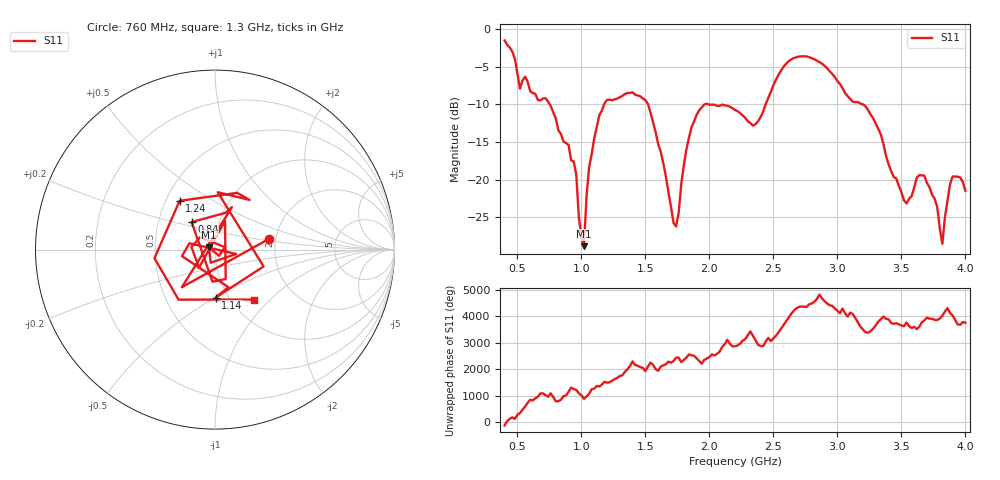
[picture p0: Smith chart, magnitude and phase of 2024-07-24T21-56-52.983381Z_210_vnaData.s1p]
!Created with skrf (http://scikit-rf.org).
# Hz S RI R 50.0
!freq ReS11 ImS11
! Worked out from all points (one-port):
!   181 points, 400 MHz to 4 GHz, reference 50 ohm
!   lowest |S11| = -28.8 dB at 1.02 GHz (marker M1), VSWR 1.08, Z = 46.7 + j1.11 ohm
!   |S11| at or under -10 dB: 1.521 GHz to 1.967 GHz (445.9 MHz wide, 25.6 % of centre); 1.991 GHz to 2.439 GHz (448.4 MHz wide, 20.2 % of centre); 3.196 GHz to end of sweep (the widest 3 of 4)
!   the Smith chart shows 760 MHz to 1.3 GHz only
!   S11 on the Smith chart (normalised r, x): 760 MHz: 1.84, +0.25; 840 MHz: 0.74, +0.24; 1.14 GHz: 0.87, -0.50; 1.24 GHz: 0.59, +0.36; 1.3 GHz: 1.26, -0.80
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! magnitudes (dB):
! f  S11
! 400 MHz  -1.5
! 520 MHz  -7.9
! 560 MHz  -6.4
! 760 MHz  -10.2
! 840 MHz  -13.9
! 860 MHz  -14.9
! 940 MHz  -17.6
! 1.02 GHz  -28.8
! 1.06 GHz  -18.4
! 1.14 GHz  -11.5
! 1.24 GHz  -9.5
! 1.3 GHz  -9.1
! 1.52 GHz  -10.0
! 1.72 GHz  -25.8
! 1.76 GHz  -24.4
! 1.82 GHz  -16.0
! 1.9 GHz  -11.4
! 2.2 GHz  -10.8
! 2.36 GHz  -12.6
! 2.66 GHz  -3.9
! 3.1 GHz  -9.3
! 3.28 GHz  -11.9
! 3.56 GHz  -22.5
! 3.68 GHz  -19.5
! 3.78 GHz  -23.6
! 3.82 GHz  -28.5
! 3.9 GHz  -19.6
! 4 GHz  -21.5
